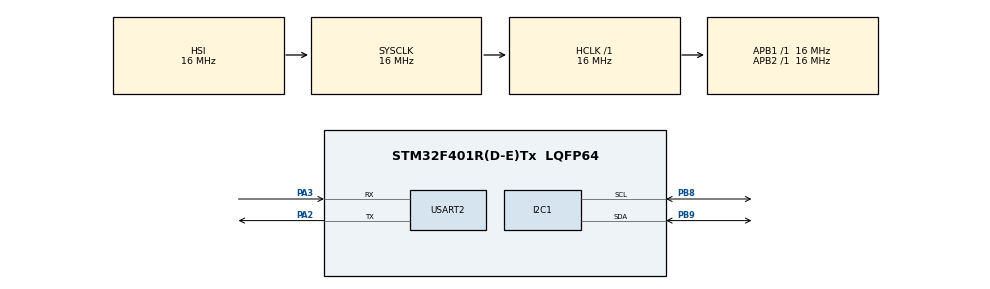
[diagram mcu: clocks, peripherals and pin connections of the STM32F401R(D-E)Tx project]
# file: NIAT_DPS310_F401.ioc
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Mcu.Family=STM32F4
Mcu.Name=STM32F401R(D-E)Tx
Mcu.Package=LQFP64
NVIC.PriorityGroup=NVIC_PRIORITYGROUP_4
PA2.Mode=Asynchronous
PA2.Signal=USART2_TX
PA3.Mode=Asynchronous
PA3.Signal=USART2_RX
PB8.Mode=I2C
PB8.Signal=I2C1_SCL
PB9.Mode=I2C
PB9.Signal=I2C1_SDA
ProjectManager.HeapSize=0x200
ProjectManager.StackSize=0x400
ProjectManager.TargetToolchain=STM32CubeIDE
RCC.AHBFreq_Value=16000000
RCC.APB1Freq_Value=16000000
RCC.APB2Freq_Value=16000000
RCC.CortexFreq_Value=16000000
RCC.HSE_VALUE=25000000
RCC.HSI_VALUE=16000000
RCC.LSE_VALUE=32768
RCC.SYSCLKFreq_VALUE=16000000
RCC.VCOOutputFreq_Value=192000000
USART2.VirtualMode=VM_ASYNC
board=custom

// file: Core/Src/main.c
/* USER CODE BEGIN Header */
/**
  ******************************************************************************
  * @file           : main.c
  * @brief          : Main program body
  ******************************************************************************
  * @attention
  *
  * Copyright (c) 2026 STMicroelectronics.
  * All rights reserved.
  *
  * This software is licensed under terms that can be found in the LICENSE file
  * in the root directory of this software component.
  * If no LICENSE file comes with this software, it is provided AS-IS.
  *
  ******************************************************************************
  */
/* USER CODE END Header */
#include "main.h"

/* USER CODE BEGIN Includes */
#include "dps310.h"
#include "dps310_interface.h"
#include <stdio.h>
#include <stdarg.h>
#include <stdint.h>
/* USER CODE END Includes */

I2C_HandleTypeDef hi2c1;

UART_HandleTypeDef huart2;

void SystemClock_Config(void);
static void MX_GPIO_Init(void);
static void MX_I2C1_Init(void);
static void MX_USART2_UART_Init(void);

/* USER CODE BEGIN 0 */
static void DPS310_DiagnosticPrint(const char *format, ...)
{
    char buffer[192];
    va_list args;
    va_start(args, format);
    int length = vsnprintf(buffer, sizeof(buffer), format, args);
    va_end(args);

    if (length <= 0)
    {
        return;
    }

    if ((size_t)length >= sizeof(buffer))
    {
        length = (int)sizeof(buffer) - 1;
    }

    (void)HAL_UART_Transmit(&huart2,
                            (uint8_t *)buffer,
                            (uint16_t)length,
                            100U);
}

static void DPS310_Format2(char *output, size_t output_size, float value)
{
    int32_t scaled = (int32_t)(value * 100.0f);
    uint32_t magnitude = (scaled < 0) ? (uint32_t)(-(int64_t)scaled)
                                      : (uint32_t)scaled;
    (void)snprintf(output, output_size, "%s%lu.%02lu",
                   (scaled < 0) ? "-" : "",
                   (unsigned long)(magnitude / 100U),
                   (unsigned long)(magnitude % 100U));
}

/* USER CODE END 0 */

int main(void)
{

  /* MCU Configuration--------------------------------------------------------*/

  /* Reset of all peripherals, Initializes the Flash interface and the Systick. */
  HAL_Init();

  /* Configure the system clock */
  SystemClock_Config();

  /* Initialize all configured peripherals */
  MX_GPIO_Init();
  MX_I2C1_Init();
  MX_USART2_UART_Init();
  /* USER CODE BEGIN 2 */
  DPS310_DiagnosticPrint("\r\n=== NIAT DPS310 Diagnostic ===\r\n");
  DPS310_DiagnosticPrint("STM32F401 initialized. I2C1 ready.\r\n");

  if (DPS310_Interface_Init(&hi2c1) != HAL_OK)
  {
      DPS310_DiagnosticPrint("DPS310 I2C interface setup failed.\r\n");
  }
  else
  {
      DPS310_DiagnosticPrint("I2C interface configured; probing DPS310 at 0x77 and 0x76.\r\n");
  }

  /* USER CODE END 2 */

  /* Infinite loop */
  while (1)
  {

    /* USER CODE BEGIN 3 */
	  /* Diagnostic-only retry loop: keeps trying if the sensor is not connected. */
	  static uint32_t dps310_last_init_attempt_ms = 0U;
	  static uint32_t dps310_last_error_report_ms = 0U;

	  if (!DPS310_IsInitialized())
	  {
	      uint32_t now = HAL_GetTick();
	      if ((dps310_last_init_attempt_ms == 0U) ||
	          ((now - dps310_last_init_attempt_ms) >= 1000U))
	      {
	          dps310_last_init_attempt_ms = now;
	          DPS310_Status init_status = DPS310_Init();

	          if (init_status == DPS310_STATUS_OK)
	          {
	              DPS310_DiagnosticPrint("DPS310 initialized at 7-bit I2C address 0x%02X.\r\n",
	                                     (unsigned int)DPS310_GetDeviceAddress());
	              DPS310_DiagnosticPrint("Calibration loaded; pressure and temperature mode active.\r\n");
	          }
	          else
	          {
	              DPS310_DiagnosticPrint("DPS310 init pending (status=%d); retrying in 1 s.\r\n",
	                                     (int)init_status);
	          }
	      }
	  }
	  else
	  {
	      DPS310_Data sample;
	      DPS310_Status read_status = DPS310_ReadData(&sample);

	      if (read_status == DPS310_STATUS_OK)
	      {
	          char temperature_text[20];
	          char altitude_text[20];
	          DPS310_Format2(temperature_text, sizeof(temperature_text), sample.temperature_c);
	          DPS310_Format2(altitude_text, sizeof(altitude_text), sample.altitude_m);

	          /* Integer pressure output avoids requiring printf float support. */
	          long pressure_pa = (long)(sample.pressure_pa + 0.5f);
	          DPS310_DiagnosticPrint("Temp=%s C | Pressure=%ld Pa | Altitude=%s m\r\n",
	                                 temperature_text,
	                                 pressure_pa,
	                                 altitude_text);
	      }
	      else if ((read_status != DPS310_STATUS_DATA_NOT_READY) &&
	               ((HAL_GetTick() - dps310_last_error_report_ms) >= 1000U))
	      {
	          dps310_last_error_report_ms = HAL_GetTick();
	          DPS310_DiagnosticPrint("DPS310 read error (status=%d).\r\n", (int)read_status);
	      }
	  }

	  HAL_Delay(10U);
  }
  /* USER CODE END 3 */
}

void SystemClock_Config(void)
{
  RCC_OscInitTypeDef RCC_OscInitStruct = {0};
  RCC_ClkInitTypeDef RCC_ClkInitStruct = {0};

  /** Configure the main internal regulator output voltage
  */
  __HAL_RCC_PWR_CLK_ENABLE();
  __HAL_PWR_VOLTAGESCALING_CONFIG(PWR_REGULATOR_VOLTAGE_SCALE2);

  /** Initializes the RCC Oscillators according to the specified parameters
  * in the RCC_OscInitTypeDef structure.
  */
  RCC_OscInitStruct.OscillatorType = RCC_OSCILLATORTYPE_HSI;
  RCC_OscInitStruct.HSIState = RCC_HSI_ON;
  RCC_OscInitStruct.HSICalibrationValue = RCC_HSICALIBRATION_DEFAULT;
  RCC_OscInitStruct.PLL.PLLState = RCC_PLL_NONE;
  if (HAL_RCC_OscConfig(&RCC_OscInitStruct) != HAL_OK)
  {
    Error_Handler();
  }

  /** Initializes the CPU, AHB and APB buses clocks
  */
  RCC_ClkInitStruct.ClockType = RCC_CLOCKTYPE_HCLK|RCC_CLOCKTYPE_SYSCLK
                              |RCC_CLOCKTYPE_PCLK1|RCC_CLOCKTYPE_PCLK2;
  RCC_ClkInitStruct.SYSCLKSource = RCC_SYSCLKSOURCE_HSI;
  RCC_ClkInitStruct.AHBCLKDivider = RCC_SYSCLK_DIV1;
  RCC_ClkInitStruct.APB1CLKDivider = RCC_HCLK_DIV1;
  RCC_ClkInitStruct.APB2CLKDivider = RCC_HCLK_DIV1;

  if (HAL_RCC_ClockConfig(&RCC_ClkInitStruct, FLASH_LATENCY_0) != HAL_OK)
  {
    Error_Handler();
  }
}

static void MX_I2C1_Init(void)
{

  hi2c1.Instance = I2C1;
  hi2c1.Init.ClockSpeed = 100000;
  hi2c1.Init.DutyCycle = I2C_DUTYCYCLE_2;
  hi2c1.Init.OwnAddress1 = 0;
  hi2c1.Init.AddressingMode = I2C_ADDRESSINGMODE_7BIT;
  hi2c1.Init.DualAddressMode = I2C_DUALADDRESS_DISABLE;
  hi2c1.Init.OwnAddress2 = 0;
  hi2c1.Init.GeneralCallMode = I2C_GENERALCALL_DISABLE;
  hi2c1.Init.NoStretchMode = I2C_NOSTRETCH_DISABLE;
  if (HAL_I2C_Init(&hi2c1) != HAL_OK)
  {
    Error_Handler();
  }

}

static void MX_USART2_UART_Init(void)
{

  huart2.Instance = USART2;
  huart2.Init.BaudRate = 115200;
  huart2.Init.WordLength = UART_WORDLENGTH_8B;
  huart2.Init.StopBits = UART_STOPBITS_1;
  huart2.Init.Parity = UART_PARITY_NONE;
  huart2.Init.Mode = UART_MODE_TX_RX;
  huart2.Init.HwFlowCtl = UART_HWCONTROL_NONE;
  huart2.Init.OverSampling = UART_OVERSAMPLING_16;
  if (HAL_UART_Init(&huart2) != HAL_OK)
  {
    Error_Handler();
  }

}

static void MX_GPIO_Init(void)
{

  /* GPIO Ports Clock Enable */
  __HAL_RCC_GPIOA_CLK_ENABLE();
  __HAL_RCC_GPIOB_CLK_ENABLE();

}

void Error_Handler(void)
{
  __disable_irq();
  while (1)
  {
  }
}
